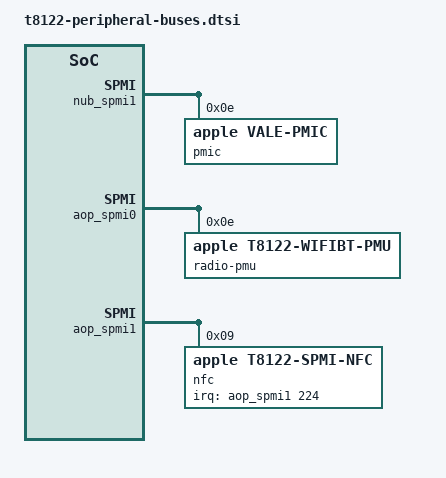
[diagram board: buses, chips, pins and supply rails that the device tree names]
// SPDX-License-Identifier: GPL-2.0+ OR MIT
/* Unclaimed T8122 peripheral buses. */

&soc {
	spi4: spi@2a1110000 {
		compatible = "apple,t8122-spi", "apple,t8103-spi";
		reg = <0x2 0xa1110000 0 0x4000>;
		interrupt-parent = <&aic>;
		interrupts = <AIC_IRQ 769 IRQ_TYPE_LEVEL_HIGH>;
		clocks = <&clkref>;
		power-domains = <&ps_spi4>;
		#address-cells = <1>;
		#size-cells = <0>;
		status = "disabled";
	};

	qspi: spi@2a1118000 {
		compatible = "apple,t8122-qspi", "apple,qspi";
		reg = <0x2 0xa1118000 0 0x4800>;
		interrupt-parent = <&aic>;
		interrupts = <AIC_IRQ 771 IRQ_TYPE_LEVEL_HIGH>;
		clocks = <&clk_200m>;
		power-domains = <&ps_qspi>;
		#address-cells = <1>;
		#size-cells = <0>;
		status = "disabled";
	};

	/* ADT /arm-io/nub-spmi1: the auxiliary PMU (pmu-aux) at USID 0xe. */
	nub_spmi1: spmi@2e4794000 {
		compatible = "apple,t8122-spmi", "apple,t8103-spmi";
		reg = <0x2 0xe4794000 0 0x4000>,
		      <0x2 0xe4784000 0 0x4000>,
		      <0x2 0xe4780000 0 0x4000>;
		interrupt-parent = <&aic>;
		interrupts = <AIC_IRQ 447 IRQ_TYPE_LEVEL_HIGH>;
		interrupt-controller;
		#interrupt-cells = <2>;
		#address-cells = <2>;
		#size-cells = <0>;

		pmic@e {
			compatible = "apple,vale-pmic", "apple,spmi-nvmem";
			reg = <0xe SPMI_USID>;
			read-only;
		};
	};

	aop_spmi0: spmi@2f4894000 {
		compatible = "apple,t8122-spmi", "apple,t8103-spmi";
		reg = <0x2 0xf4894000 0 0x4000>,
		      <0x2 0xf4884000 0 0x4000>,
		      <0x2 0xf4880000 0 0x4000>;
		interrupt-parent = <&aic>;
		interrupts = <AIC_IRQ 406 IRQ_TYPE_LEVEL_HIGH>;
		interrupt-controller;
		#interrupt-cells = <2>;
		#address-cells = <2>;
		#size-cells = <0>;

		radio-pmu@e {
			compatible = "apple,t8122-wifibt-pmu", "apple,radio-pmu";
			reg = <0xe SPMI_USID>;
		};
	};

	aop_spmi1: spmi@2f48d4000 {
		compatible = "apple,t8122-spmi", "apple,t8103-spmi";
		reg = <0x2 0xf48d4000 0 0x4000>,
		      <0x2 0xf48c4000 0 0x4000>,
		      <0x2 0xf48c0000 0 0x4000>;
		interrupt-parent = <&aic>;
		interrupts = <AIC_IRQ 410 IRQ_TYPE_LEVEL_HIGH>;
		interrupt-controller;
		#interrupt-cells = <2>;
		#address-cells = <2>;
		#size-cells = <0>;

		nfc@9 {
			compatible = "apple,t8122-spmi-nfc", "apple,spmi-nfc";
			reg = <0x9 SPMI_USID>;
			interrupt-parent = <&aop_spmi1>;
			interrupts = <224 IRQ_TYPE_LEVEL_HIGH>,
				     <225 IRQ_TYPE_LEVEL_HIGH>,
				     <226 IRQ_TYPE_LEVEL_HIGH>,
				     <227 IRQ_TYPE_LEVEL_HIGH>,
				     <228 IRQ_TYPE_LEVEL_HIGH>,
				     <229 IRQ_TYPE_LEVEL_HIGH>,
				     <230 IRQ_TYPE_LEVEL_HIGH>;
		};
	};

};
